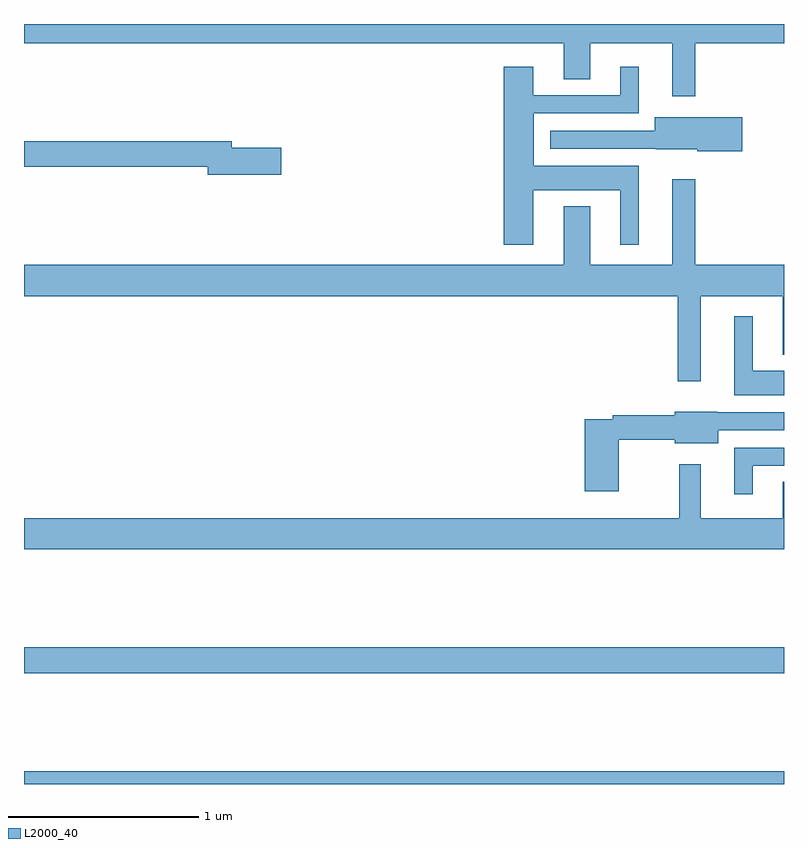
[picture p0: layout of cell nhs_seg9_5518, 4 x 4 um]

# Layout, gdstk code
import gdstk
lib = gdstk.Library(unit=1e-6, precision=1e-09)
def R(c, l, rs):  # rectangles x0, y0, x1, y1
    for r in rs: c.add(gdstk.rectangle(r[:2], r[2:], *l))
def P(c, l, *ps):  # polygons
    for p in ps: c.add(gdstk.Polygon(p, *l))
L2000_40 = (2000, 40)

nhs_seg9_5518 = lib.new_cell('nhs_seg9_5518')
R(nhs_seg9_5518, L2000_40, [(431,1212.5,435,1212.568), (431,1213.084,435,1213.22)])
P(nhs_seg9_5518, L2000_40, [(434.533,1216.4),(435,1216.4),(435,1216.5),(431,1216.5),(431,1216.4),(433.841,1216.4),(433.841,1216.21),(433.981,1216.21),(433.981,1216.4),(434.411,1216.4),(434.411,1216.119),(434.533,1216.119)],
  [(433.681,1215.626),(434.138,1215.626),(434.138,1215.339),(434.236,1215.339),(434.236,1215.754),(433.684,1215.754),(433.684,1216.029),(434.236,1216.029),(434.236,1216.276),(434.138,1216.276),(434.138,1216.125),(433.681,1216.125),(433.681,1216.276),(433.526,1216.276),(433.526,1215.339),(433.681,1215.339)],
  [(434.779,1216.008),(434.321,1216.008),(434.321,1215.939),(433.769,1215.939),(433.769,1215.843),(434.325,1215.843),(434.325,1215.842),(434.544,1215.842),(434.544,1215.83),(434.779,1215.83)],
  [(432.355,1215.848),(432.094,1215.848),(432.094,1215.884),(431,1215.884),(431,1215.748),(431.966,1215.748),(431.966,1215.706),(432.355,1215.706)],
  [(434.563,1215.068),(434.993,1215.068),(434.993,1214.759),(435,1214.759),(435,1215.232),(434.533,1215.232),(434.533,1215.682),(434.411,1215.682),(434.411,1215.232),(433.981,1215.232),(433.981,1215.541),(433.841,1215.541),(433.841,1215.232),(431,1215.232),(431,1215.068),(434.442,1215.068),(434.442,1214.619),(434.563,1214.619)],
  [(435,1214.674),(434.836,1214.674),(434.836,1214.962),(434.738,1214.962),(434.738,1214.546),(435,1214.546)],
  [(434.13,1214.313),(434.426,1214.313),(434.426,1214.294),(434.653,1214.294),(434.653,1214.361),(435,1214.361),(435,1214.457),(434.649,1214.457),(434.649,1214.458),(434.426,1214.458),(434.426,1214.441),(434.098,1214.441),(434.098,1214.421),(433.952,1214.421),(433.952,1214.04),(434.13,1214.04)],
  [(434.836,1214.175),(435,1214.175),(435,1214.271),(434.738,1214.271),(434.738,1214.025),(434.836,1214.025)],
  [(435,1214.09),(434.993,1214.09),(434.993,1213.9),(434.563,1213.9),(434.563,1214.182),(434.449,1214.182),(434.449,1213.9),(431,1213.9),(431,1213.736),(435,1213.736)])

lib.write_gds('nhs_seg9_5518.gds')
